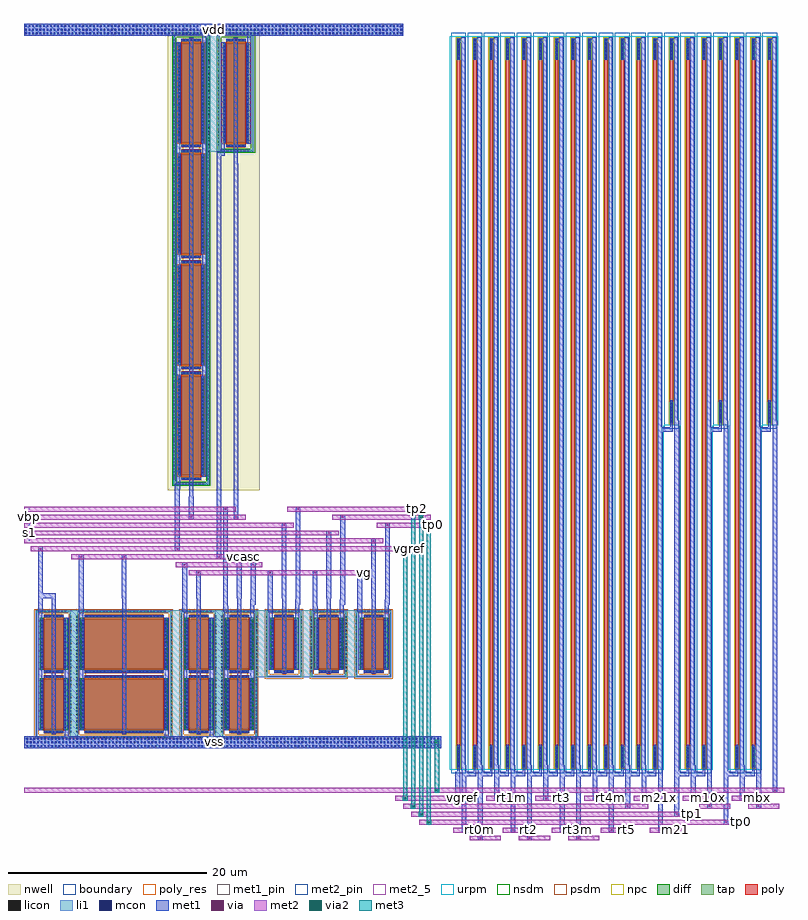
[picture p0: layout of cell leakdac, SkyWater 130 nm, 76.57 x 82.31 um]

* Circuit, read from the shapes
.subckt leakdac lo m10 m10x m21 m21x mb mbx out rt0m rt1 rt1m rt2 rt2m rt3 rt3m rt4 rt4m rt5 s0 s1 s2 tp0 tp1 tp2 vbp vcasc vdd vg vgref vss
XM1 vss vgref vgref vss sky130_fd_pr__nfet_01v8 w=5 l=2 m=2
XM2 vss vcasc vcasc vss sky130_fd_pr__nfet_01v8 w=5 l=8 m=2
XM3 vss vg lo vss sky130_fd_pr__nfet_01v8 w=5 l=2 m=2
XM4 lo vcasc out vss sky130_fd_pr__nfet_01v8 w=5 l=2 m=2
XM5 tp2 s0 vg vss sky130_fd_pr__nfet_01v8 w=5 l=2
XM6 tp1 s1 vg vss sky130_fd_pr__nfet_01v8 w=5 l=2
XM7 tp0 s2 vg vss sky130_fd_pr__nfet_01v8 w=5 l=2
XM8 vdd vbp vgref vdd sky130_fd_pr__pfet_01v8 w=10 l=2 m=4
XM9 vdd vbp vcasc vdd sky130_fd_pr__pfet_01v8 w=10 l=2
XR10 rt0m vgref vss sky130_fd_pr__res_xhigh_po w=0.35 l=69.18
XR11 rt1 rt0m vss sky130_fd_pr__res_xhigh_po w=0.35 l=69.18
XR12 rt1m rt1 vss sky130_fd_pr__res_xhigh_po w=0.35 l=69.18
XR13 rt2 rt1m vss sky130_fd_pr__res_xhigh_po w=0.35 l=69.18
XR14 rt2m rt2 vss sky130_fd_pr__res_xhigh_po w=0.35 l=69.18
XR15 rt3 rt2m vss sky130_fd_pr__res_xhigh_po w=0.35 l=69.18
XR16 rt3m rt3 vss sky130_fd_pr__res_xhigh_po w=0.35 l=69.18
XR17 rt4 rt3m vss sky130_fd_pr__res_xhigh_po w=0.35 l=69.18
XR18 rt4m rt4 vss sky130_fd_pr__res_xhigh_po w=0.35 l=69.18
XR19 rt5 rt4m vss sky130_fd_pr__res_xhigh_po w=0.35 l=69.18
XR20 tp2 rt5 vss sky130_fd_pr__res_xhigh_po w=0.35 l=69.18
XR21 m21x tp2 vss sky130_fd_pr__res_xhigh_po w=0.35 l=69.18
XR22 m21 m21x vss sky130_fd_pr__res_xhigh_po w=0.35 l=69.18
XR23 tp1 m21 vss sky130_fd_pr__res_xhigh_po w=0.35 l=34.48
XR24 m10x tp1 vss sky130_fd_pr__res_xhigh_po w=0.35 l=69.18
XR25 m10 m10x vss sky130_fd_pr__res_xhigh_po w=0.35 l=69.18
XR26 tp0 m10 vss sky130_fd_pr__res_xhigh_po w=0.35 l=34.48
XR27 mbx tp0 vss sky130_fd_pr__res_xhigh_po w=0.35 l=69.18
XR28 mb mbx vss sky130_fd_pr__res_xhigh_po w=0.35 l=69.18
XR29 vss mb vss sky130_fd_pr__res_xhigh_po w=0.35 l=34.48
.ends

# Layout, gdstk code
import gdstk
lib = gdstk.Library(unit=1e-6, precision=1e-09)
def R(c, l, rs):  # rectangles x0, y0, x1, y1
    for r in rs: c.add(gdstk.rectangle(r[:2], r[2:], *l))
def A(c, l, x, y, w, h, nx, ny, dx, dy):  # array of equal rectangles
    R(c, l, [(x+i*dx, y+j*dy, x+i*dx+w, y+j*dy+h) for i in range(nx) for j in range(ny)])
nwell = (64, 20)
diff = (65, 20)
tap = (65, 44)
poly_res = (66, 13)
poly = (66, 20)
licon = (66, 44)
li1 = (67, 20)
mcon = (67, 44)
met1_pin = (68, 16)
met1 = (68, 20)
via = (68, 44)
met2_5 = (69, 5)
met2_pin = (69, 16)
met2 = (69, 20)
via2 = (69, 44)
met3 = (70, 20)
urpm = (79, 20)
nsdm = (93, 44)
psdm = (94, 20)
npc = (95, 20)
boundary = (235, 4)

sky130_fd_pr__nfet_01v8_ = lib.new_cell('sky130_fd_pr__nfet_01v8_2BA4RW')
R(sky130_fd_pr__nfet_01v8_, diff, [(-4.29,-5.545,4.29,-0.545), (-4.29,0.545,4.29,5.545)])
R(sky130_fd_pr__nfet_01v8_, tap, [(-4.8,-6.415,4.8,-6.245), (-4.8,-6.245,-4.63,6.245), (4.63,-6.245,4.8,6.245), (-4.8,6.245,4.8,6.415)])
R(sky130_fd_pr__nfet_01v8_, poly, [(-4,-5.985,4,-0.105), (-4,0.105,4,5.985)])
A(sky130_fd_pr__nfet_01v8_, licon, -4.165, -6.415, 0.17, 0.17, 25, 2, 0.34, 12.66)
A(sky130_fd_pr__nfet_01v8_, licon, -3.825, -5.905, 0.17, 0.17, 23, 2, 0.34, 5.55)
A(sky130_fd_pr__nfet_01v8_, licon, -4.8, -5.865, 0.17, 0.17, 1, 35, 0, 0.34)
A(sky130_fd_pr__nfet_01v8_, licon, 4.63, -5.865, 0.17, 0.17, 1, 35, 0, 0.34)
A(sky130_fd_pr__nfet_01v8_, licon, -4.23, -5.34, 0.17, 0.17, 1, 14, 0, 0.34)
A(sky130_fd_pr__nfet_01v8_, licon, 4.06, -5.34, 0.17, 0.17, 1, 14, 0, 0.34)
A(sky130_fd_pr__nfet_01v8_, licon, -3.825, 0.185, 0.17, 0.17, 23, 2, 0.34, 5.55)
A(sky130_fd_pr__nfet_01v8_, licon, -4.23, 0.75, 0.17, 0.17, 1, 14, 0, 0.34)
A(sky130_fd_pr__nfet_01v8_, licon, 4.06, 0.75, 0.17, 0.17, 1, 14, 0, 0.34)
R(sky130_fd_pr__nfet_01v8_, li1, [(-4.8,-6.415,4.8,-6.245), (-4.8,-6.245,-4.63,6.245), (4.63,-6.245,4.8,6.245), (-4,-5.905,4,-5.735), (-4.23,-5.565,-4.06,-0.525), (4.06,-5.565,4.23,-0.525), (-4,-0.355,4,-0.185), (-4,0.185,4,0.355), (-4.23,0.525,-4.06,5.565), (4.06,0.525,4.23,5.565), (-4,5.735,4,5.905), (-4.8,6.245,4.8,6.415)])
A(sky130_fd_pr__nfet_01v8_, mcon, -3.865, -5.905, 0.17, 0.17, 22, 2, 0.36, 5.55)
A(sky130_fd_pr__nfet_01v8_, mcon, -4.23, -5.47, 0.17, 0.17, 1, 14, 0, 0.36)
A(sky130_fd_pr__nfet_01v8_, mcon, 4.06, -5.47, 0.17, 0.17, 1, 14, 0, 0.36)
A(sky130_fd_pr__nfet_01v8_, mcon, -3.865, 0.185, 0.17, 0.17, 22, 2, 0.36, 5.55)
A(sky130_fd_pr__nfet_01v8_, mcon, -4.23, 0.62, 0.17, 0.17, 1, 14, 0, 0.36)
A(sky130_fd_pr__nfet_01v8_, mcon, 4.06, 0.62, 0.17, 0.17, 1, 14, 0, 0.36)
R(sky130_fd_pr__nfet_01v8_, met1, [(-3.98,-5.935,3.98,-5.705), (-4.26,-5.545,-4.03,-0.545), (4.03,-5.545,4.26,-0.545), (-3.98,-0.385,3.98,-0.155), (-3.98,0.155,3.98,0.385), (-4.26,0.545,-4.03,5.545), (4.03,0.545,4.26,5.545), (-3.98,5.705,3.98,5.935)])
R(sky130_fd_pr__nfet_01v8_, nsdm, [(-4.415,-5.67,4.415,-0.42), (-4.415,0.42,4.415,5.67)])
R(sky130_fd_pr__nfet_01v8_, psdm, [(-4.925,-6.54,4.925,-6.12), (-4.925,-6.12,-4.505,6.12), (4.505,-6.12,4.925,6.12), (-4.925,6.12,4.925,6.54)])
R(sky130_fd_pr__nfet_01v8_, npc, [(-3.925,-6.005,3.925,-5.635), (-3.925,-0.455,3.925,0.455), (-3.925,5.635,3.925,6.005)])
R(sky130_fd_pr__nfet_01v8_, boundary, [(-4.715,-6.33,4.715,6.33)])
sky130_fd_pr__nfet_01v8_.add(gdstk.Label('B', (0,-6.33), layer=67, texttype=5))
sky130_fd_pr__nfet_01v8_.add(gdstk.Label('D0', (-4.145,-3.045), layer=67, texttype=5))
sky130_fd_pr__nfet_01v8_.add(gdstk.Label('S0', (4.145,-3.045), layer=67, texttype=5))
sky130_fd_pr__nfet_01v8_.add(gdstk.Label('G0', (0,-0.27), layer=67, texttype=5))
sky130_fd_pr__nfet_01v8_.add(gdstk.Label('D1', (-4.145,3.045), layer=67, texttype=5))
sky130_fd_pr__nfet_01v8_.add(gdstk.Label('S1', (4.145,3.045), layer=67, texttype=5))
sky130_fd_pr__nfet_01v8_.add(gdstk.Label('G1', (0,5.82), layer=67, texttype=5))

c_sky130_fd_pr__nfet_01v8_ = lib.new_cell('sky130_fd_pr__nfet_01v8_Q63W57')
R(c_sky130_fd_pr__nfet_01v8_, diff, [(-1.29,-5.545,1.29,-0.545), (-1.29,0.545,1.29,5.545)])
R(c_sky130_fd_pr__nfet_01v8_, tap, [(-1.8,-6.415,1.8,-6.245), (-1.8,-6.245,-1.63,6.245), (1.63,-6.245,1.8,6.245), (-1.8,6.245,1.8,6.415)])
R(c_sky130_fd_pr__nfet_01v8_, poly, [(-1,-5.985,1,-0.105), (-1,0.105,1,5.985)])
A(c_sky130_fd_pr__nfet_01v8_, licon, -1.275, -6.415, 0.17, 0.17, 8, 2, 0.34, 12.66)
A(c_sky130_fd_pr__nfet_01v8_, licon, -0.765, -5.905, 0.17, 0.17, 5, 2, 0.34, 5.55)
A(c_sky130_fd_pr__nfet_01v8_, licon, -1.8, -5.865, 0.17, 0.17, 1, 35, 0, 0.34)
A(c_sky130_fd_pr__nfet_01v8_, licon, 1.63, -5.865, 0.17, 0.17, 1, 35, 0, 0.34)
A(c_sky130_fd_pr__nfet_01v8_, licon, -1.23, -5.34, 0.17, 0.17, 1, 14, 0, 0.34)
A(c_sky130_fd_pr__nfet_01v8_, licon, 1.06, -5.34, 0.17, 0.17, 1, 14, 0, 0.34)
A(c_sky130_fd_pr__nfet_01v8_, licon, -0.765, 0.185, 0.17, 0.17, 5, 2, 0.34, 5.55)
A(c_sky130_fd_pr__nfet_01v8_, licon, -1.23, 0.75, 0.17, 0.17, 1, 14, 0, 0.34)
A(c_sky130_fd_pr__nfet_01v8_, licon, 1.06, 0.75, 0.17, 0.17, 1, 14, 0, 0.34)
R(c_sky130_fd_pr__nfet_01v8_, li1, [(-1.8,-6.415,1.8,-6.245), (-1.8,-6.245,-1.63,6.245), (1.63,-6.245,1.8,6.245), (-1,-5.905,1,-5.735), (-1.23,-5.565,-1.06,-0.525), (1.06,-5.565,1.23,-0.525), (-1,-0.355,1,-0.185), (-1,0.185,1,0.355), (-1.23,0.525,-1.06,5.565), (1.06,0.525,1.23,5.565), (-1,5.735,1,5.905), (-1.8,6.245,1.8,6.415)])
A(c_sky130_fd_pr__nfet_01v8_, mcon, -0.805, -5.905, 0.17, 0.17, 5, 2, 0.36, 5.55)
A(c_sky130_fd_pr__nfet_01v8_, mcon, -1.23, -5.47, 0.17, 0.17, 1, 14, 0, 0.36)
A(c_sky130_fd_pr__nfet_01v8_, mcon, 1.06, -5.47, 0.17, 0.17, 1, 14, 0, 0.36)
A(c_sky130_fd_pr__nfet_01v8_, mcon, -0.805, 0.185, 0.17, 0.17, 5, 2, 0.36, 5.55)
A(c_sky130_fd_pr__nfet_01v8_, mcon, -1.23, 0.62, 0.17, 0.17, 1, 14, 0, 0.36)
A(c_sky130_fd_pr__nfet_01v8_, mcon, 1.06, 0.62, 0.17, 0.17, 1, 14, 0, 0.36)
R(c_sky130_fd_pr__nfet_01v8_, met1, [(-0.98,-5.935,0.98,-5.705), (-1.26,-5.545,-1.03,-0.545), (1.03,-5.545,1.26,-0.545), (-0.98,-0.385,0.98,-0.155), (-0.98,0.155,0.98,0.385), (-1.26,0.545,-1.03,5.545), (1.03,0.545,1.26,5.545), (-0.98,5.705,0.98,5.935)])
R(c_sky130_fd_pr__nfet_01v8_, nsdm, [(-1.415,-5.67,1.415,-0.42), (-1.415,0.42,1.415,5.67)])
R(c_sky130_fd_pr__nfet_01v8_, psdm, [(-1.925,-6.54,1.925,-6.12), (-1.925,-6.12,-1.505,6.12), (1.505,-6.12,1.925,6.12), (-1.925,6.12,1.925,6.54)])
R(c_sky130_fd_pr__nfet_01v8_, npc, [(-0.865,-6.005,0.865,-5.635), (-0.865,-0.455,0.865,0.455), (-0.865,5.635,0.865,6.005)])
R(c_sky130_fd_pr__nfet_01v8_, boundary, [(-1.715,-6.33,1.715,6.33)])
c_sky130_fd_pr__nfet_01v8_.add(gdstk.Label('B', (0,-6.33), layer=67, texttype=5))
c_sky130_fd_pr__nfet_01v8_.add(gdstk.Label('D0', (-1.145,-3.045), layer=67, texttype=5))
c_sky130_fd_pr__nfet_01v8_.add(gdstk.Label('S0', (1.145,-3.045), layer=67, texttype=5))
c_sky130_fd_pr__nfet_01v8_.add(gdstk.Label('G0', (0,-0.27), layer=67, texttype=5))
c_sky130_fd_pr__nfet_01v8_.add(gdstk.Label('D1', (-1.145,3.045), layer=67, texttype=5))
c_sky130_fd_pr__nfet_01v8_.add(gdstk.Label('S1', (1.145,3.045), layer=67, texttype=5))
c_sky130_fd_pr__nfet_01v8_.add(gdstk.Label('G1', (0,5.82), layer=67, texttype=5))

sky130_fd_pr__pfet_01v8_ = lib.new_cell('sky130_fd_pr__pfet_01v8_UXDLCW')
R(sky130_fd_pr__pfet_01v8_, nwell, [(-1.98,-6.095,1.98,6.095)])
R(sky130_fd_pr__pfet_01v8_, diff, [(-1.29,-5,1.29,5)])
R(sky130_fd_pr__pfet_01v8_, tap, [(-1.8,-5.915,1.8,-5.745), (-1.8,-5.745,-1.63,5.745), (1.63,-5.745,1.8,5.745), (-1.8,5.745,1.8,5.915)])
R(sky130_fd_pr__pfet_01v8_, poly, [(-1,-5.485,1,5.485)])
A(sky130_fd_pr__pfet_01v8_, licon, -1.275, -5.915, 0.17, 0.17, 8, 2, 0.34, 11.66)
A(sky130_fd_pr__pfet_01v8_, licon, -0.765, -5.405, 0.17, 0.17, 5, 2, 0.34, 10.64)
A(sky130_fd_pr__pfet_01v8_, licon, -1.8, -5.355, 0.17, 0.17, 1, 32, 0, 0.34)
A(sky130_fd_pr__pfet_01v8_, licon, 1.63, -5.355, 0.17, 0.17, 1, 32, 0, 0.34)
A(sky130_fd_pr__pfet_01v8_, licon, -1.23, -4.845, 0.17, 0.17, 1, 29, 0, 0.34)
A(sky130_fd_pr__pfet_01v8_, licon, 1.06, -4.845, 0.17, 0.17, 1, 29, 0, 0.34)
R(sky130_fd_pr__pfet_01v8_, li1, [(-1.8,-5.915,1.8,-5.745), (-1.8,-5.745,-1.63,5.745), (1.63,-5.745,1.8,5.745), (-1,-5.405,1,-5.235), (-1.23,-5.02,-1.06,5.02), (1.06,-5.02,1.23,5.02), (-1,5.235,1,5.405), (-1.8,5.745,1.8,5.915)])
A(sky130_fd_pr__pfet_01v8_, mcon, -0.805, -5.405, 0.17, 0.17, 5, 2, 0.36, 10.64)
A(sky130_fd_pr__pfet_01v8_, mcon, -1.23, -4.765, 0.17, 0.17, 1, 27, 0, 0.36)
A(sky130_fd_pr__pfet_01v8_, mcon, 1.06, -4.765, 0.17, 0.17, 1, 27, 0, 0.36)
R(sky130_fd_pr__pfet_01v8_, met1, [(-0.98,-5.435,0.98,-5.205), (-1.26,-5,-1.03,5), (1.03,-5,1.26,5), (-0.98,5.205,0.98,5.435)])
R(sky130_fd_pr__pfet_01v8_, nsdm, [(-1.925,-6.04,1.925,-5.62), (-1.925,-5.62,-1.505,5.62), (1.505,-5.62,1.925,5.62), (-1.925,5.62,1.925,6.04)])
R(sky130_fd_pr__pfet_01v8_, psdm, [(-1.415,-5.125,1.415,5.125)])
R(sky130_fd_pr__pfet_01v8_, npc, [(-0.865,-5.505,0.865,-5.135), (-0.865,5.135,0.865,5.505)])
R(sky130_fd_pr__pfet_01v8_, boundary, [(-1.715,-5.83,1.715,5.83)])
sky130_fd_pr__pfet_01v8_.add(gdstk.Label('B', (0,-5.83), layer=67, texttype=5))
sky130_fd_pr__pfet_01v8_.add(gdstk.Label('D', (-1.145,0), layer=67, texttype=5))
sky130_fd_pr__pfet_01v8_.add(gdstk.Label('S', (1.145,0), layer=67, texttype=5))
sky130_fd_pr__pfet_01v8_.add(gdstk.Label('G', (0,5.32), layer=67, texttype=5))

c_sky130_fd_pr__pfet_01v8_ = lib.new_cell('sky130_fd_pr__pfet_01v8_SNJR4L')
R(c_sky130_fd_pr__pfet_01v8_, nwell, [(-1.98,-22.865,1.98,22.865)])
A(c_sky130_fd_pr__pfet_01v8_, diff, -1.29, -21.77, 2.58, 10, 1, 4, 0, 11.18)
R(c_sky130_fd_pr__pfet_01v8_, tap, [(-1.8,-22.685,1.8,-22.515), (-1.8,-22.515,-1.63,22.515), (1.63,-22.515,1.8,22.515), (-1.8,22.515,1.8,22.685)])
A(c_sky130_fd_pr__pfet_01v8_, poly, -1, -22.255, 2, 10.97, 1, 4, 0, 11.18)
A(c_sky130_fd_pr__pfet_01v8_, licon, -1.275, -22.685, 0.17, 0.17, 8, 2, 0.34, 45.2)
A(c_sky130_fd_pr__pfet_01v8_, licon, -1.8, -22.185, 0.17, 0.17, 1, 131, 0, 0.34)
A(c_sky130_fd_pr__pfet_01v8_, licon, 1.63, -22.185, 0.17, 0.17, 1, 131, 0, 0.34)
A(c_sky130_fd_pr__pfet_01v8_, licon, -0.765, -22.175, 0.17, 0.17, 5, 2, 0.34, 10.64)
A(c_sky130_fd_pr__pfet_01v8_, licon, -1.23, -21.615, 0.17, 0.17, 1, 29, 0, 0.34)
A(c_sky130_fd_pr__pfet_01v8_, licon, 1.06, -21.615, 0.17, 0.17, 1, 29, 0, 0.34)
A(c_sky130_fd_pr__pfet_01v8_, licon, -0.765, -10.995, 0.17, 0.17, 5, 2, 0.34, 10.64)
A(c_sky130_fd_pr__pfet_01v8_, licon, -1.23, -10.435, 0.17, 0.17, 1, 29, 0, 0.34)
A(c_sky130_fd_pr__pfet_01v8_, licon, 1.06, -10.435, 0.17, 0.17, 1, 29, 0, 0.34)
A(c_sky130_fd_pr__pfet_01v8_, licon, -0.765, 0.185, 0.17, 0.17, 5, 2, 0.34, 10.64)
A(c_sky130_fd_pr__pfet_01v8_, licon, -1.23, 0.745, 0.17, 0.17, 1, 29, 0, 0.34)
A(c_sky130_fd_pr__pfet_01v8_, licon, 1.06, 0.745, 0.17, 0.17, 1, 29, 0, 0.34)
A(c_sky130_fd_pr__pfet_01v8_, licon, -0.765, 11.365, 0.17, 0.17, 5, 2, 0.34, 10.64)
A(c_sky130_fd_pr__pfet_01v8_, licon, -1.23, 11.925, 0.17, 0.17, 1, 29, 0, 0.34)
A(c_sky130_fd_pr__pfet_01v8_, licon, 1.06, 11.925, 0.17, 0.17, 1, 29, 0, 0.34)
A(c_sky130_fd_pr__pfet_01v8_, li1, -1.23, -21.79, 0.17, 10.04, 1, 4, 0, 11.18)
A(c_sky130_fd_pr__pfet_01v8_, li1, 1.06, -21.79, 0.17, 10.04, 1, 4, 0, 11.18)
R(c_sky130_fd_pr__pfet_01v8_, li1, [(-1.8,-22.685,1.8,-22.515), (-1.8,-22.515,-1.63,22.515), (1.63,-22.515,1.8,22.515), (-1,-22.175,1,-22.005), (-1,-11.535,1,-11.365), (-1,-10.995,1,-10.825), (-1,-0.355,1,-0.185), (-1,0.185,1,0.355), (-1,10.825,1,10.995), (-1,11.365,1,11.535), (-1,22.005,1,22.175), (-1.8,22.515,1.8,22.685)])
A(c_sky130_fd_pr__pfet_01v8_, mcon, -0.805, -22.175, 0.17, 0.17, 5, 2, 0.36, 10.64)
A(c_sky130_fd_pr__pfet_01v8_, mcon, -1.23, -21.535, 0.17, 0.17, 1, 27, 0, 0.36)
A(c_sky130_fd_pr__pfet_01v8_, mcon, 1.06, -21.535, 0.17, 0.17, 1, 27, 0, 0.36)
A(c_sky130_fd_pr__pfet_01v8_, mcon, -0.805, -10.995, 0.17, 0.17, 5, 2, 0.36, 10.64)
A(c_sky130_fd_pr__pfet_01v8_, mcon, -1.23, -10.355, 0.17, 0.17, 1, 27, 0, 0.36)
A(c_sky130_fd_pr__pfet_01v8_, mcon, 1.06, -10.355, 0.17, 0.17, 1, 27, 0, 0.36)
A(c_sky130_fd_pr__pfet_01v8_, mcon, -0.805, 0.185, 0.17, 0.17, 5, 2, 0.36, 10.64)
A(c_sky130_fd_pr__pfet_01v8_, mcon, -1.23, 0.825, 0.17, 0.17, 1, 27, 0, 0.36)
A(c_sky130_fd_pr__pfet_01v8_, mcon, 1.06, 0.825, 0.17, 0.17, 1, 27, 0, 0.36)
A(c_sky130_fd_pr__pfet_01v8_, mcon, -0.805, 11.365, 0.17, 0.17, 5, 2, 0.36, 10.64)
A(c_sky130_fd_pr__pfet_01v8_, mcon, -1.23, 12.005, 0.17, 0.17, 1, 27, 0, 0.36)
A(c_sky130_fd_pr__pfet_01v8_, mcon, 1.06, 12.005, 0.17, 0.17, 1, 27, 0, 0.36)
A(c_sky130_fd_pr__pfet_01v8_, met1, -1.26, -21.77, 0.23, 10, 1, 4, 0, 11.18)
A(c_sky130_fd_pr__pfet_01v8_, met1, 1.03, -21.77, 0.23, 10, 1, 4, 0, 11.18)
R(c_sky130_fd_pr__pfet_01v8_, met1, [(-0.98,-22.205,0.98,-21.975), (-0.98,-11.565,0.98,-11.335), (-0.98,-11.025,0.98,-10.795), (-0.98,-0.385,0.98,-0.155), (-0.98,0.155,0.98,0.385), (-0.98,10.795,0.98,11.025), (-0.98,11.335,0.98,11.565), (-0.98,21.975,0.98,22.205)])
R(c_sky130_fd_pr__pfet_01v8_, nsdm, [(-1.925,-22.81,1.925,-22.39), (-1.925,-22.39,-1.505,22.39), (1.505,-22.39,1.925,22.39), (-1.925,22.39,1.925,22.81)])
A(c_sky130_fd_pr__pfet_01v8_, psdm, -1.415, -21.895, 2.83, 10.25, 1, 4, 0, 11.18)
A(c_sky130_fd_pr__pfet_01v8_, npc, -0.865, -11.635, 1.73, 0.91, 1, 3, 0, 11.18)
R(c_sky130_fd_pr__pfet_01v8_, npc, [(-0.865,-22.275,0.865,-21.905), (-0.865,21.905,0.865,22.275)])
R(c_sky130_fd_pr__pfet_01v8_, boundary, [(-1.715,-22.6,1.715,22.6)])
c_sky130_fd_pr__pfet_01v8_.add(gdstk.Label('B', (0,-22.6), layer=67, texttype=5))
c_sky130_fd_pr__pfet_01v8_.add(gdstk.Label('D0', (-1.145,-16.77), layer=67, texttype=5))
c_sky130_fd_pr__pfet_01v8_.add(gdstk.Label('S0', (1.145,-16.77), layer=67, texttype=5))
c_sky130_fd_pr__pfet_01v8_.add(gdstk.Label('G0', (0,-11.45), layer=67, texttype=5))
c_sky130_fd_pr__pfet_01v8_.add(gdstk.Label('D1', (-1.145,-5.59), layer=67, texttype=5))
c_sky130_fd_pr__pfet_01v8_.add(gdstk.Label('S1', (1.145,-5.59), layer=67, texttype=5))
c_sky130_fd_pr__pfet_01v8_.add(gdstk.Label('G1', (0,-0.27), layer=67, texttype=5))
c_sky130_fd_pr__pfet_01v8_.add(gdstk.Label('D2', (-1.145,5.59), layer=67, texttype=5))
c_sky130_fd_pr__pfet_01v8_.add(gdstk.Label('S2', (1.145,5.59), layer=67, texttype=5))
c_sky130_fd_pr__pfet_01v8_.add(gdstk.Label('G2', (0,10.91), layer=67, texttype=5))
c_sky130_fd_pr__pfet_01v8_.add(gdstk.Label('D3', (-1.145,16.77), layer=67, texttype=5))
c_sky130_fd_pr__pfet_01v8_.add(gdstk.Label('S3', (1.145,16.77), layer=67, texttype=5))
c_sky130_fd_pr__pfet_01v8_.add(gdstk.Label('G3', (0,22.09), layer=67, texttype=5))

c_sky130_fd_pr__nfet_01v8__ = lib.new_cell('sky130_fd_pr__nfet_01v8_R6YGMZ')
R(c_sky130_fd_pr__nfet_01v8__, diff, [(-1.29,-2.5,1.29,2.5)])
R(c_sky130_fd_pr__nfet_01v8__, tap, [(-1.8,-3.37,1.8,-3.2), (-1.8,-3.2,-1.63,3.2), (1.63,-3.2,1.8,3.2), (-1.8,3.2,1.8,3.37)])
R(c_sky130_fd_pr__nfet_01v8__, poly, [(-1,-2.94,1,2.94)])
A(c_sky130_fd_pr__nfet_01v8__, licon, -1.275, -3.37, 0.17, 0.17, 8, 2, 0.34, 6.57)
A(c_sky130_fd_pr__nfet_01v8__, licon, -0.765, -2.86, 0.17, 0.17, 5, 2, 0.34, 5.55)
A(c_sky130_fd_pr__nfet_01v8__, licon, -1.8, -2.805, 0.17, 0.17, 1, 17, 0, 0.34)
A(c_sky130_fd_pr__nfet_01v8__, licon, 1.63, -2.805, 0.17, 0.17, 1, 17, 0, 0.34)
A(c_sky130_fd_pr__nfet_01v8__, licon, -1.23, -2.295, 0.17, 0.17, 1, 14, 0, 0.34)
A(c_sky130_fd_pr__nfet_01v8__, licon, 1.06, -2.295, 0.17, 0.17, 1, 14, 0, 0.34)
R(c_sky130_fd_pr__nfet_01v8__, li1, [(-1.8,-3.37,1.8,-3.2), (-1.8,-3.2,-1.63,3.2), (1.63,-3.2,1.8,3.2), (-1,-2.86,1,-2.69), (-1.23,-2.52,-1.06,2.52), (1.06,-2.52,1.23,2.52), (-1,2.69,1,2.86), (-1.8,3.2,1.8,3.37)])
A(c_sky130_fd_pr__nfet_01v8__, mcon, -0.805, -2.86, 0.17, 0.17, 5, 2, 0.36, 5.55)
A(c_sky130_fd_pr__nfet_01v8__, mcon, -1.23, -2.425, 0.17, 0.17, 1, 14, 0, 0.36)
A(c_sky130_fd_pr__nfet_01v8__, mcon, 1.06, -2.425, 0.17, 0.17, 1, 14, 0, 0.36)
R(c_sky130_fd_pr__nfet_01v8__, met1, [(-0.98,-2.89,0.98,-2.66), (-1.26,-2.5,-1.03,2.5), (1.03,-2.5,1.26,2.5), (-0.98,2.66,0.98,2.89)])
R(c_sky130_fd_pr__nfet_01v8__, nsdm, [(-1.415,-2.625,1.415,2.625)])
R(c_sky130_fd_pr__nfet_01v8__, psdm, [(-1.925,-3.495,1.925,-3.075), (-1.925,-3.075,-1.505,3.075), (1.505,-3.075,1.925,3.075), (-1.925,3.075,1.925,3.495)])
R(c_sky130_fd_pr__nfet_01v8__, npc, [(-0.865,-2.96,0.865,-2.59), (-0.865,2.59,0.865,2.96)])
R(c_sky130_fd_pr__nfet_01v8__, boundary, [(-1.715,-3.285,1.715,3.285)])
c_sky130_fd_pr__nfet_01v8__.add(gdstk.Label('B', (0,-3.285), layer=67, texttype=5))
c_sky130_fd_pr__nfet_01v8__.add(gdstk.Label('D', (-1.145,0), layer=67, texttype=5))
c_sky130_fd_pr__nfet_01v8__.add(gdstk.Label('S', (1.145,0), layer=67, texttype=5))
c_sky130_fd_pr__nfet_01v8__.add(gdstk.Label('G', (0,2.775), layer=67, texttype=5))

sky130_fd_pr__res_xhigh_ = lib.new_cell('sky130_fd_pr__res_xhigh_po_0p35_NDNA4V')
R(sky130_fd_pr__res_xhigh_, poly_res, [(-0.175,-34.65,0.175,34.65)])
R(sky130_fd_pr__res_xhigh_, poly, [(-0.175,-36.73,0.175,36.73)])
R(sky130_fd_pr__res_xhigh_, licon, [(-0.095,-36.65,0.095,-34.65), (-0.095,34.65,0.095,36.65)])
R(sky130_fd_pr__res_xhigh_, li1, [(-0.175,-36.73,0.175,-34.57), (-0.175,34.57,0.175,36.73)])
A(sky130_fd_pr__res_xhigh_, mcon, -0.085, -36.635, 0.17, 0.17, 1, 6, 0, 0.36)
A(sky130_fd_pr__res_xhigh_, mcon, -0.085, 34.66, 0.17, 0.17, 1, 6, 0, 0.36)
R(sky130_fd_pr__res_xhigh_, met1, [(-0.125,-36.7,0.125,-34.595), (-0.125,34.595,0.125,36.7)])
R(sky130_fd_pr__res_xhigh_, urpm, [(-0.875,-36.93,0.875,36.93)])
R(sky130_fd_pr__res_xhigh_, psdm, [(-0.285,-36.84,0.285,36.84)])
R(sky130_fd_pr__res_xhigh_, npc, [(-0.27,-36.825,0.27,36.825)])
R(sky130_fd_pr__res_xhigh_, boundary, [(-0.74,-37.295,0.74,37.295)])
sky130_fd_pr__res_xhigh_.add(gdstk.Label('R1', (0,36.555), layer=67, texttype=5))
sky130_fd_pr__res_xhigh_.add(gdstk.Label('R2', (0,-36.555), layer=67, texttype=5))

c_sky130_fd_pr__res_xhigh_ = lib.new_cell('sky130_fd_pr__res_xhigh_po_0p35_D7SNA5')
R(c_sky130_fd_pr__res_xhigh_, poly_res, [(-0.175,-17.3,0.175,17.3)])
R(c_sky130_fd_pr__res_xhigh_, poly, [(-0.175,-19.38,0.175,19.38)])
R(c_sky130_fd_pr__res_xhigh_, licon, [(-0.095,-19.3,0.095,-17.3), (-0.095,17.3,0.095,19.3)])
R(c_sky130_fd_pr__res_xhigh_, li1, [(-0.175,-19.38,0.175,-17.22), (-0.175,17.22,0.175,19.38)])
A(c_sky130_fd_pr__res_xhigh_, mcon, -0.085, -19.285, 0.17, 0.17, 1, 6, 0, 0.36)
A(c_sky130_fd_pr__res_xhigh_, mcon, -0.085, 17.31, 0.17, 0.17, 1, 6, 0, 0.36)
R(c_sky130_fd_pr__res_xhigh_, met1, [(-0.125,-19.35,0.125,-17.245), (-0.125,17.245,0.125,19.35)])
R(c_sky130_fd_pr__res_xhigh_, urpm, [(-0.875,-19.58,0.875,19.58)])
R(c_sky130_fd_pr__res_xhigh_, psdm, [(-0.285,-19.49,0.285,19.49)])
R(c_sky130_fd_pr__res_xhigh_, npc, [(-0.27,-19.475,0.27,19.475)])
R(c_sky130_fd_pr__res_xhigh_, boundary, [(-0.74,-19.945,0.74,19.945)])
c_sky130_fd_pr__res_xhigh_.add(gdstk.Label('R1', (0,19.205), layer=67, texttype=5))
c_sky130_fd_pr__res_xhigh_.add(gdstk.Label('R2', (0,-19.205), layer=67, texttype=5))

leakdac = lib.new_cell('leakdac')
R(leakdac, nwell, [(13.465,-47.03,22.735,-0.68)])
R(leakdac, tap, [(3.78,-71.96,4.28,-59.13), (18.39,-71.96,18.89,-59.13)])
A(leakdac, li1, 22.49, -65.87, 0.91, 6.74, 3, 1, 4.51, 0)
R(leakdac, li1, [(-1,-73.04,41.04,-71.79), (3.78,-71.79,4.28,-59.13), (13.88,-71.79,14.79,-59.13), (18.39,-71.79,18.89,-59.13), (17.645,-12.91,18.555,-1.25), (-1,-1.25,37.2,0)])
A(leakdac, mcon, -0.765, -72.86, 0.17, 0.17, 116, 3, 0.36, 0.36)
A(leakdac, mcon, -0.885, -1.07, 0.17, 0.17, 106, 3, 0.36, 0.36)
R(leakdac, met1_pin, [(18.1,-72.415,18.2,-72.315), (18.1,-0.625,18.2,-0.525)])
A(leakdac, met1, 44.73, -82.3, 0.48, 6.45, 3, 1, 4.95, 0)
A(leakdac, met1, 43.08, -81.5, 0.48, 5.65, 4, 1, 4.95, 0)
A(leakdac, met1, 46.38, -78.3, 0.48, 2.45, 6, 1, 4.95, 0)
A(leakdac, met1, 43.08, -75.85, 1.47, 0.48, 12, 1, 1.65, 0)
A(leakdac, met1, 42.65, -75.37, 0.25, 2.715, 13, 1, 1.65, 0)
A(leakdac, met1, 43.08, -75.37, 0.48, 0.17, 12, 1, 1.65, 0)
A(leakdac, met1, 43.04, -75.2, 0.52, 0.48, 12, 1, 1.65, 0)
A(leakdac, met1, 62.84, -75.2, 0.52, 34.05, 3, 1, 4.95, 0)
A(leakdac, met1, 43.04, -74.72, 0.4, 72.79, 12, 1, 1.65, 0)
A(leakdac, met1, 25, -65.53, 0.4, 7.64, 3, 1, 4.51, 0)
A(leakdac, met1, 23.68, -65.11, 0.4, 5.92, 3, 1, 4.51, 0)
A(leakdac, met1, 26.32, -65.11, 0.4, 6.57, 3, 1, 4.51, 0)
A(leakdac, met1, 19.05, -59.19, 0.52, 0.48, 4, 1, 4.51, 0)
A(leakdac, met1, 23.56, -58.71, 0.48, 3.62, 3, 1, 4.51, 0)
A(leakdac, met1, 21.81, -58.54, 0.52, 0.48, 4, 1, 4.51, 0)
A(leakdac, met1, 62.84, -41.15, 1.51, 0.48, 3, 1, 4.95, 0)
A(leakdac, met1, 62.84, -40.67, 0.4, 38.74, 3, 1, 4.95, 0)
A(leakdac, met1, 64.1, -40.67, 0.25, 2.715, 3, 1, 4.95, 0)
A(leakdac, met1, 64.49, -40.5, 0.52, 0.48, 3, 1, 4.95, 0)
A(leakdac, met1, 64.49, -40.02, 0.4, 38.09, 3, 1, 4.95, 0)
A(leakdac, met1, 42.65, -1.93, 0.79, 0.4, 20, 1, 1.65, 0)
A(leakdac, met1, 43.04, -1.53, 0.4, 0.17, 20, 1, 1.65, 0)
R(leakdac, met1, [(62.88,-81.5,63.36,-75.2), (69.48,-80.7,69.96,-75.85), (64.53,-79.9,65.01,-75.85), (59.58,-79.1,60.06,-75.85), (67.83,-79.1,68.31,-75.2), (72.78,-79.1,73.26,-75.2), (42.455,-78.3,42.935,-75.37), (74.43,-77.5,74.91,-40.5), (64.53,-75.85,66,-75.37), (66.18,-75.85,67.65,-75.37), (69.48,-75.85,70.95,-75.37), (71.13,-75.85,72.6,-75.37), (64.53,-75.37,65.01,-40.5), (65.75,-75.37,66,-72.655), (66.18,-75.37,66.66,-75.2), (67.4,-75.37,67.65,-72.655), (69.48,-75.37,69.96,-40.5), (70.7,-75.37,70.95,-72.655), (71.13,-75.37,71.61,-75.2), (72.35,-75.37,72.6,-72.655), (66.14,-75.2,66.66,-74.72), (71.09,-75.2,71.61,-74.72), (66.14,-74.72,66.54,-1.93), (71.09,-74.72,71.49,-1.93), (-1,-73.04,41.04,-71.79), (3.1,-71.79,3.5,-59.89), (13.2,-71.79,13.6,-59.89), (17.71,-71.79,18.11,-59.89), (1.78,-71.62,2.18,-57.89), (8.88,-71.62,9.28,-57.89), (16.39,-71.62,16.79,-57.89), (20.49,-71.62,20.89,-57.89), (0.46,-71.2,0.86,-59.19), (4.56,-71.2,4.96,-59.19), (15.07,-71.2,15.47,-59.19), (19.17,-71.2,19.57,-59.19), (21.81,-71.2,22.21,-58.54), (0.42,-59.19,0.9,-57.89), (4.52,-59.19,5,-53.49), (14.95,-59.19,15.47,-58.71), (14.95,-58.71,15.43,-54.29), (19.05,-58.71,19.53,-48.69), (21.85,-58.06,22.33,-54.29), (26.36,-58.06,26.84,-48.69), (30.87,-58.06,31.35,-49.49), (35.38,-58.06,35.86,-50.29), (0.42,-57.89,2.18,-57.41), (8.84,-57.89,9.32,-53.49), (16.35,-57.89,16.83,-55.09), (20.45,-57.89,20.93,-53.49), (24.96,-57.89,25.44,-50.29), (29.47,-57.89,29.95,-51.09), (33.98,-57.89,34.46,-51.89), (0.42,-57.41,0.9,-52.69), (18.395,-53.97,18.875,-13.33), (14.205,-53.17,14.685,-46.87), (15.605,-49.97,16.085,-47.69), (20.115,-49.97,20.595,-14.15), (15.645,-47.69,16.045,-1.42), (14.205,-46.87,14.725,-46.39), (14.325,-46.39,14.725,-1.885), (16.965,-45.645,17.365,-1.25), (20.155,-14.15,20.555,-1.42), (18.395,-13.33,19.235,-12.85), (18.835,-12.85,19.235,-1.885), (21.475,-12.105,21.875,-1.25), (-1,-1.25,37.2,0)])
A(leakdac, via, 44.895, -82.135, 0.15, 0.15, 3, 1, 4.95, 0)
A(leakdac, via, 43.245, -81.335, 0.15, 0.15, 5, 1, 4.95, 0)
A(leakdac, via, 46.545, -78.135, 0.15, 0.15, 6, 1, 4.95, 0)
A(leakdac, via, 23.725, -55.405, 0.15, 0.15, 3, 1, 4.51, 0)
R(leakdac, via, [(69.645,-80.535,69.795,-80.385), (64.695,-79.735,64.845,-79.585), (59.745,-78.935,59.895,-78.785), (67.995,-78.935,68.145,-78.785), (72.945,-78.935,73.095,-78.785), (42.62,-78.135,42.77,-77.985), (74.595,-77.335,74.745,-77.185), (40.525,-72.49,40.675,-72.34), (16.515,-55.405,16.665,-55.255), (15.115,-54.605,15.265,-54.455), (22.015,-54.605,22.165,-54.455), (4.685,-53.805,4.835,-53.655), (9.005,-53.805,9.155,-53.655), (18.56,-53.805,18.71,-53.655), (20.615,-53.805,20.765,-53.655), (0.585,-53.005,0.735,-52.855), (14.37,-53.005,14.52,-52.855), (34.145,-52.205,34.295,-52.055), (29.635,-51.405,29.785,-51.255), (25.125,-50.605,25.275,-50.455), (35.545,-50.605,35.695,-50.455), (15.77,-49.805,15.92,-49.655), (20.28,-49.805,20.43,-49.655), (31.035,-49.805,31.185,-49.655), (19.215,-49.005,19.365,-48.855), (26.525,-49.005,26.675,-48.855)])
A(leakdac, met2_5, 46.455, -82.06, 0.1, 0.1, 3, 1, 4.95, 0)
A(leakdac, met2_5, 44.805, -81.26, 0.1, 0.1, 5, 1, 4.95, 0)
A(leakdac, met2_5, 43.155, -78.06, 0.1, 0.1, 7, 1, 4.95, 0)
R(leakdac, met2_5, [(71.205,-80.46,71.305,-80.36), (66.255,-79.66,66.355,-79.56), (61.305,-78.86,61.405,-78.76), (69.555,-78.86,69.655,-78.76), (74.505,-78.86,74.605,-78.76), (33.28,-55.33,33.38,-55.23), (22.39,-54.53,22.49,-54.43), (21.07,-53.73,21.17,-53.63), (37.78,-52.93,37.88,-52.83), (40.18,-50.53,40.28,-50.43), (39.38,-49.73,39.48,-49.63), (38.58,-48.93,38.68,-48.83)])
A(leakdac, met2_pin, -0.5, -52.13, 0.1, 0.1, 1, 5, 0, 0.8)
A(leakdac, met2, 43.91, -82.31, 3.145, 0.5, 3, 1, 4.95, 0)
A(leakdac, met2, 42.26, -81.51, 3.145, 0.5, 5, 1, 4.95, 0)
A(leakdac, met2, 45.56, -78.31, 3.145, 0.5, 6, 1, 4.95, 0)
R(leakdac, met2, [(38.82,-80.71,71.805,-80.21), (38.02,-79.91,66.855,-79.41), (37.22,-79.11,61.905,-78.61), (67.01,-79.11,70.155,-78.61), (71.96,-79.11,75.105,-78.61), (36.42,-78.31,43.755,-77.81), (-1,-77.51,75.57,-77.01), (40.36,-72.655,40.84,-72.175), (15.61,-55.58,33.88,-55.08), (14.29,-54.78,22.99,-54.28), (3.78,-53.98,21.67,-53.48), (-0.32,-53.18,38.38,-52.68), (-1,-52.38,35.2,-51.88), (-1,-51.58,30.69,-51.08), (-1,-50.78,26.18,-50.28), (34.56,-50.78,40.78,-50.28), (-1,-49.98,21.335,-49.48), (30.05,-49.98,39.98,-49.48), (-1,-49.18,20.35,-48.68), (25.54,-49.18,39.18,-48.68)])
R(leakdac, via2, [(39.7,-80.56,39.9,-80.36), (38.9,-79.76,39.1,-79.56), (38.1,-78.96,38.3,-78.76), (37.3,-78.16,37.5,-77.96), (40.5,-77.36,40.7,-77.16), (40.5,-72.515,40.7,-72.315), (37.3,-53.03,37.5,-52.83), (39.7,-50.63,39.9,-50.43), (38.9,-49.83,39.1,-49.63), (38.1,-49.03,38.3,-48.83)])
R(leakdac, met3, [(39.56,-80.7,40.04,-80.22), (39.6,-80.22,40,-50.77), (38.76,-79.9,39.24,-79.42), (38.8,-79.42,39.2,-49.97), (37.96,-79.1,38.44,-78.62), (38,-78.62,38.4,-49.17), (37.16,-78.3,37.64,-77.82), (37.2,-77.82,37.6,-53.17), (40.36,-77.5,40.84,-72.175), (37.16,-53.17,37.64,-52.69), (39.56,-50.77,40.04,-50.29), (38.76,-49.97,39.24,-49.49), (37.96,-49.17,38.44,-48.69)])
R(leakdac, psdm, [(3.655,-72.085,4.405,-59.005), (18.265,-72.085,19.015,-59.005)])
leakdac.add(gdstk.Reference(sky130_fd_pr__nfet_01v8_, (9.08,-65.545)))
leakdac.add(gdstk.Reference(c_sky130_fd_pr__nfet_01v8_, (1.98,-65.545)))
leakdac.add(gdstk.Reference(sky130_fd_pr__pfet_01v8_, (20.355,-6.995)))
leakdac.add(gdstk.Reference(c_sky130_fd_pr__nfet_01v8_, (16.59,-65.545)))
leakdac.add(gdstk.Reference(c_sky130_fd_pr__nfet_01v8_, (20.69,-65.545)))
leakdac.add(gdstk.Reference(c_sky130_fd_pr__pfet_01v8_, (15.845,-23.765)))
leakdac.add(gdstk.Reference(c_sky130_fd_pr__nfet_01v8__, (25.2,-62.5)))
leakdac.add(gdstk.Reference(c_sky130_fd_pr__nfet_01v8__, (29.71,-62.5)))
leakdac.add(gdstk.Reference(c_sky130_fd_pr__nfet_01v8__, (34.22,-62.5)))
leakdac.add(gdstk.Reference(sky130_fd_pr__res_xhigh_, (42.775,-38.23)))
leakdac.add(gdstk.Reference(sky130_fd_pr__res_xhigh_, (44.425,-38.23)))
leakdac.add(gdstk.Reference(sky130_fd_pr__res_xhigh_, (46.075,-38.23)))
leakdac.add(gdstk.Reference(sky130_fd_pr__res_xhigh_, (47.725,-38.23)))
leakdac.add(gdstk.Reference(sky130_fd_pr__res_xhigh_, (49.375,-38.23)))
leakdac.add(gdstk.Reference(sky130_fd_pr__res_xhigh_, (51.025,-38.23)))
leakdac.add(gdstk.Reference(sky130_fd_pr__res_xhigh_, (52.675,-38.23)))
leakdac.add(gdstk.Reference(sky130_fd_pr__res_xhigh_, (54.325,-38.23)))
leakdac.add(gdstk.Reference(sky130_fd_pr__res_xhigh_, (55.975,-38.23)))
leakdac.add(gdstk.Reference(sky130_fd_pr__res_xhigh_, (57.625,-38.23)))
leakdac.add(gdstk.Reference(sky130_fd_pr__res_xhigh_, (59.275,-38.23)))
leakdac.add(gdstk.Reference(sky130_fd_pr__res_xhigh_, (65.875,-38.23)))
leakdac.add(gdstk.Reference(sky130_fd_pr__res_xhigh_, (67.525,-38.23)))
leakdac.add(gdstk.Reference(c_sky130_fd_pr__res_xhigh_, (69.175,-20.88)))
leakdac.add(gdstk.Reference(sky130_fd_pr__res_xhigh_, (60.925,-38.23)))
leakdac.add(gdstk.Reference(sky130_fd_pr__res_xhigh_, (62.575,-38.23)))
leakdac.add(gdstk.Reference(c_sky130_fd_pr__res_xhigh_, (64.225,-20.88)))
leakdac.add(gdstk.Reference(sky130_fd_pr__res_xhigh_, (70.825,-38.23)))
leakdac.add(gdstk.Reference(sky130_fd_pr__res_xhigh_, (72.475,-38.23)))
leakdac.add(gdstk.Reference(c_sky130_fd_pr__res_xhigh_, (74.125,-20.88)))
leakdac.add(gdstk.Label('tp2', (38.63,-48.88), layer=69, texttype=5))
leakdac.add(gdstk.Label('tp1', (39.43,-49.68), layer=69, texttype=5))
leakdac.add(gdstk.Label('tp0', (40.23,-50.48), layer=69, texttype=5))
leakdac.add(gdstk.Label('vgref', (37.83,-52.88), layer=69, texttype=5))
leakdac.add(gdstk.Label('vcasc', (21.12,-53.68), layer=69, texttype=5))
leakdac.add(gdstk.Label('lo', (22.44,-54.48), layer=69, texttype=5))
leakdac.add(gdstk.Label('vg', (33.33,-55.28), layer=69, texttype=5))
leakdac.add(gdstk.Label('vgref', (43.205,-78.01), layer=69, texttype=5))
leakdac.add(gdstk.Label('rt1m', (48.155,-78.01), layer=69, texttype=5))
leakdac.add(gdstk.Label('rt3', (53.105,-78.01), layer=69, texttype=5))
leakdac.add(gdstk.Label('rt4m', (58.055,-78.01), layer=69, texttype=5))
leakdac.add(gdstk.Label('m21x', (63.005,-78.01), layer=69, texttype=5))
leakdac.add(gdstk.Label('m10x', (67.955,-78.01), layer=69, texttype=5))
leakdac.add(gdstk.Label('mbx', (72.905,-78.01), layer=69, texttype=5))
leakdac.add(gdstk.Label('tp2', (61.355,-78.81), layer=69, texttype=5))
leakdac.add(gdstk.Label('m10', (69.605,-78.81), layer=69, texttype=5))
leakdac.add(gdstk.Label('mb', (74.555,-78.81), layer=69, texttype=5))
leakdac.add(gdstk.Label('tp1', (66.305,-79.61), layer=69, texttype=5))
leakdac.add(gdstk.Label('tp0', (71.255,-80.41), layer=69, texttype=5))
leakdac.add(gdstk.Label('rt0m', (44.855,-81.21), layer=69, texttype=5))
leakdac.add(gdstk.Label('rt2', (49.805,-81.21), layer=69, texttype=5))
leakdac.add(gdstk.Label('rt3m', (54.755,-81.21), layer=69, texttype=5))
leakdac.add(gdstk.Label('rt5', (59.705,-81.21), layer=69, texttype=5))
leakdac.add(gdstk.Label('m21', (64.655,-81.21), layer=69, texttype=5))
leakdac.add(gdstk.Label('rt1', (46.505,-82.01), layer=69, texttype=5))
leakdac.add(gdstk.Label('rt2m', (51.455,-82.01), layer=69, texttype=5))
leakdac.add(gdstk.Label('rt4', (56.405,-82.01), layer=69, texttype=5))
leakdac.add(gdstk.Label('vdd', (18.15,-0.575), layer=68, texttype=5))
leakdac.add(gdstk.Label('vbp', (-0.45,-49.68), layer=69, texttype=5))
leakdac.add(gdstk.Label('vss', (18.15,-72.365), layer=68, texttype=5))
leakdac.add(gdstk.Label('out', (-0.45,-48.88), layer=69, texttype=5))
leakdac.add(gdstk.Label('s0', (-0.45,-50.48), layer=69, texttype=5))
leakdac.add(gdstk.Label('s1', (-0.45,-51.28), layer=69, texttype=5))
leakdac.add(gdstk.Label('s2', (-0.45,-52.08), layer=69, texttype=5))

lib.write_gds('leakdac.gds')
